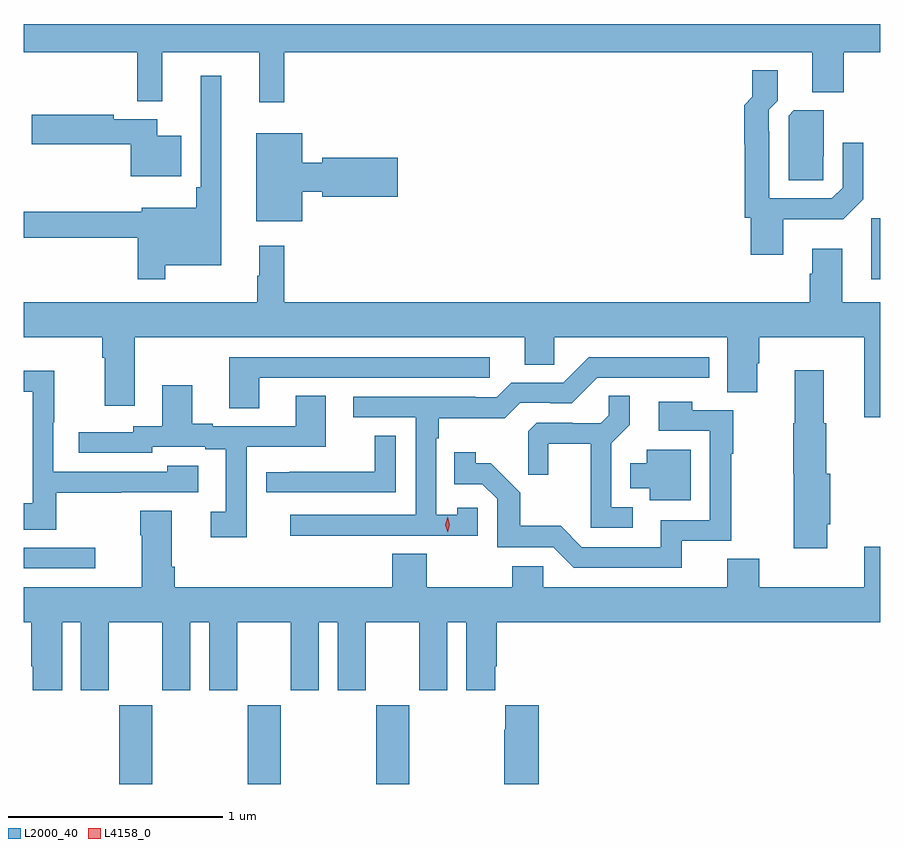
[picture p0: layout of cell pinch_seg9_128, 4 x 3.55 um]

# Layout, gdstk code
import gdstk
lib = gdstk.Library(unit=1e-6, precision=1e-09)
def R(c, l, rs):  # rectangles x0, y0, x1, y1
    for r in rs: c.add(gdstk.rectangle(r[:2], r[2:], *l))
def A(c, l, x, y, w, h, nx, ny, dx, dy):  # array of equal rectangles
    R(c, l, [(x+i*dx, y+j*dy, x+i*dx+w, y+j*dy+h) for i in range(nx) for j in range(ny)])
def P(c, l, *ps):  # polygons
    for p in ps: c.add(gdstk.Polygon(p, *l))
L2000_40 = (2000, 40)
L4158_0 = (4158, 0)

pinch_seg9_128 = lib.new_cell('pinch_seg9_128')
A(pinch_seg9_128, L2000_40, 796.891, 1244.949, 0.155, 0.367, 3, 1, 0.6, 0)
R(pinch_seg9_128, L2000_40, [(796.446,1245.957,796.78,1246.053), (800.405,1247.307,800.446,1247.592)])
P(pinch_seg9_128, L2000_40, [(796.446,1248.368),(796.975,1248.368),(796.975,1248.14),(797.093,1248.14),(797.093,1248.368),(797.546,1248.368),(797.546,1248.135),(797.663,1248.135),(797.663,1248.368),(800.129,1248.368),(800.129,1248.181),(800.277,1248.181),(800.277,1248.368),(800.446,1248.368),(800.446,1248.5),(796.446,1248.5)],
  [(799.993,1247.588),(800.273,1247.588),(800.367,1247.682),(800.367,1247.944),(800.271,1247.944),(800.271,1247.736),(800.22,1247.685),(799.929,1247.685),(799.929,1247.999),(799.926,1247.999),(799.926,1248.099),(799.969,1248.142),(799.969,1248.283),(799.849,1248.283),(799.849,1248.159),(799.811,1248.12),(799.811,1247.938),(799.813,1247.938),(799.813,1247.595),(799.841,1247.595),(799.841,1247.421),(799.993,1247.421)],
  [(797.107,1247.372),(797.368,1247.372),(797.368,1248.259),(797.271,1248.259),(797.271,1247.737),(797.251,1247.737),(797.251,1247.641),(796.997,1247.641),(796.997,1247.623),(796.446,1247.623),(796.446,1247.502),(796.978,1247.502),(796.978,1247.307),(797.107,1247.307)],
  [(800.181,1247.881),(800.182,1247.881),(800.182,1248.096),(800.043,1248.096),(800.019,1248.072),(800.019,1247.77),(800.181,1247.77)],
  [(797.182,1247.977),(797.068,1247.977),(797.068,1248.055),(796.866,1248.055),(796.866,1248.075),(796.482,1248.075),(796.482,1247.938),(796.946,1247.938),(796.946,1247.789),(797.182,1247.789)],
  [(797.746,1247.716),(797.84,1247.716),(797.84,1247.693),(798.193,1247.693),(798.193,1247.876),(797.84,1247.876),(797.84,1247.852),(797.746,1247.852),(797.746,1247.989),(797.531,1247.989),(797.531,1247.579),(797.746,1247.579)],
  [(800.446,1247.2),(800.269,1247.2),(800.269,1247.449),(800.129,1247.449),(800.129,1247.333),(800.117,1247.333),(800.117,1247.2),(797.663,1247.2),(797.663,1247.464),(797.546,1247.464),(797.546,1247.324),(797.535,1247.324),(797.535,1247.2),(796.446,1247.2),(796.446,1247.036),(796.811,1247.036),(796.811,1246.94),(796.823,1246.94),(796.823,1246.716),(796.963,1246.716),(796.963,1247.036),(798.785,1247.036),(798.785,1246.909),(798.924,1246.909),(798.924,1247.036),(799.733,1247.036),(799.733,1246.78),(799.873,1246.78),(799.873,1246.914),(799.881,1246.914),(799.881,1247.036),(800.372,1247.036),(800.372,1246.662),(800.446,1246.662)],
  [(797.545,1246.848),(798.622,1246.848),(798.622,1246.944),(797.405,1246.944),(797.405,1246.705),(797.545,1246.705)],
  [(798.083,1246.11),(798.567,1246.11),(798.567,1246.239),(798.471,1246.239),(798.471,1246.207),(798.372,1246.207),(798.372,1246.565),(798.385,1246.565),(798.385,1246.658),(798.692,1246.658),(798.765,1246.731),(798.904,1246.731),(798.904,1246.728),(799.005,1246.728),(799.125,1246.848),(799.648,1246.848),(799.648,1246.944),(799.086,1246.944),(798.966,1246.824),(798.723,1246.824),(798.654,1246.755),(798.554,1246.755),(798.554,1246.758),(797.985,1246.758),(797.985,1246.662),(798.276,1246.662),(798.276,1246.206),(797.691,1246.206),(797.691,1246.108),(798.083,1246.108)],
  [(800.2,1246.162),(800.213,1246.162),(800.213,1246.398),(800.195,1246.398),(800.195,1246.634),(800.182,1246.634),(800.182,1246.882),(800.048,1246.882),(800.048,1246.634),(800.041,1246.634),(800.041,1246.398),(800.042,1246.398),(800.042,1246.05),(800.2,1246.05)],
  [(796.597,1246.309),(796.901,1246.309),(796.901,1246.311),(797.26,1246.311),(797.26,1246.435),(797.115,1246.435),(797.115,1246.407),(796.584,1246.407),(796.584,1246.64),(796.587,1246.64),(796.587,1246.879),(796.446,1246.879),(796.446,1246.781),(796.488,1246.781),(796.488,1246.26),(796.446,1246.26),(796.446,1246.138),(796.597,1246.138)],
  [(797.487,1246.524),(797.857,1246.524),(797.857,1246.763),(797.717,1246.763),(797.717,1246.62),(797.329,1246.62),(797.329,1246.633),(797.233,1246.633),(797.233,1246.813),(797.093,1246.813),(797.093,1246.62),(796.956,1246.62),(796.956,1246.593),(796.701,1246.593),(796.701,1246.497),(797.046,1246.497),(797.046,1246.524),(797.294,1246.524),(797.294,1246.512),(797.39,1246.512),(797.39,1246.221),(797.319,1246.221),(797.319,1246.101),(797.487,1246.101)],
  [(799.291,1246.242),(799.191,1246.242),(799.191,1246.541),(799.277,1246.627),(799.277,1246.763),(799.179,1246.763),(799.179,1246.672),(799.142,1246.635),(799.008,1246.635),(799.008,1246.638),(798.843,1246.638),(798.802,1246.597),(798.802,1246.395),(798.896,1246.395),(798.896,1246.538),(799.094,1246.538),(799.094,1246.146),(799.291,1246.146)],
  [(799.52,1246.086),(799.751,1246.086),(799.751,1246.492),(799.759,1246.492),(799.759,1246.695),(799.569,1246.695),(799.569,1246.735),(799.413,1246.735),(799.413,1246.599),(799.65,1246.599),(799.65,1246.182),(799.421,1246.182),(799.421,1246.056),(799.053,1246.056),(798.955,1246.155),(798.766,1246.155),(798.766,1246.31),(798.628,1246.448),(798.558,1246.448),(798.558,1246.498),(798.457,1246.498),(798.457,1246.35),(798.588,1246.35),(798.657,1246.281),(798.657,1246.056),(798.918,1246.056),(799.014,1245.96),(799.52,1245.96)],
  [(798.183,1246.577),(798.085,1246.577),(798.085,1246.407),(797.689,1246.407),(797.689,1246.406),(797.577,1246.406),(797.577,1246.311),(798.183,1246.311)],
  [(799.561,1246.51),(799.355,1246.51),(799.355,1246.447),(799.28,1246.447),(799.28,1246.331),(799.37,1246.331),(799.37,1246.274),(799.561,1246.274)],
  [(796.624,1245.704),(796.712,1245.704),(796.712,1245.387),(796.843,1245.387),(796.843,1245.704),(797.093,1245.704),(797.093,1245.387),(797.224,1245.387),(797.224,1245.704),(797.312,1245.704),(797.312,1245.387),(797.443,1245.387),(797.443,1245.704),(797.693,1245.704),(797.693,1245.387),(797.824,1245.387),(797.824,1245.704),(797.912,1245.704),(797.912,1245.387),(798.043,1245.387),(798.043,1245.704),(798.293,1245.704),(798.293,1245.387),(798.424,1245.387),(798.424,1245.704),(798.512,1245.704),(798.512,1245.387),(798.649,1245.387),(798.649,1245.499),(798.656,1245.499),(798.656,1245.704),(800.446,1245.704),(800.446,1246.057),(800.372,1246.057),(800.372,1245.868),(799.881,1245.868),(799.881,1246.001),(799.733,1246.001),(799.733,1245.868),(798.873,1245.868),(798.873,1245.966),(798.727,1245.966),(798.727,1245.868),(798.327,1245.868),(798.327,1246.025),(798.167,1246.025),(798.167,1245.868),(797.15,1245.868),(797.15,1245.964),(797.137,1245.964),(797.137,1246.225),(796.99,1246.225),(796.99,1246.112),(796.997,1246.112),(796.997,1245.868),(796.446,1245.868),(796.446,1245.704),(796.481,1245.704),(796.481,1245.499),(796.487,1245.499),(796.487,1245.387),(796.624,1245.387)],
  [(798.851,1245.316),(798.695,1245.316),(798.695,1245.203),(798.691,1245.203),(798.691,1244.949),(798.851,1244.949)])
P(pinch_seg9_128, L4158_0, [(798.425,1246.125),(798.425,1246.126),(798.415,1246.161),(798.425,1246.197),(798.425,1246.197),(798.425,1246.197),(798.435,1246.161),(798.425,1246.126)])

lib.write_gds('pinch_seg9_128.gds')
